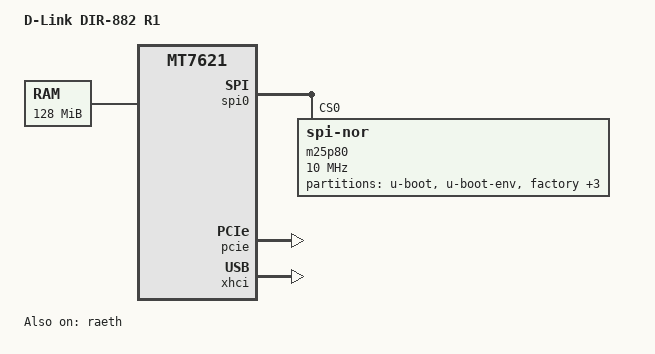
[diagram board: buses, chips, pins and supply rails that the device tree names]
/dts-v1/;

#include "mt7621.dtsi"

#include <dt-bindings/gpio/gpio.h>
#include <dt-bindings/input/input.h>

/ {
	compatible = "dlink,dir-882-r1", "ralink,mt7621-soc";
	model = "D-Link DIR-882 R1";

	memory@0 {
		device_type = "memory";
		reg = <0x0 0x8000000>;
	};
};

&spi0 {
	status = "okay";
	m25p80@0 {
		compatible = "jedec,spi-nor";
		reg = <0>;
		spi-max-frequency = <10000000>;

		partitions {
			compatible = "fixed-partitions";
			#address-cells = <1>;
			#size-cells = <1>;

			partition@0 {
				label = "u-boot";
				reg = <0x0 0x30000>;
			};

			partition@30000 {
				label = "u-boot-env";
				reg = <0x30000 0x4000>;
			};

			factory: partition@40000 {
				label = "factory";
				reg = <0x40000 0x10000>;
			};
			partition@50000 {
				compatible = "denx,uimage";
				label = "linux";
				reg = <0x50000 0xfb0000>;
			};

			partition@ff00000 {
				label = "nvram";
				reg = <0xff0000 0x10000>;
			};
			partition@0000000 {
				label = "fullflash";
				reg = <0x000000 0x1000000>;
			};
		};
	};
};

&raeth {
	status = "okay";
	mac-address = [00 00 00 00 00 00];
	gmac1-support = "rgmii-1";
	rgmii-mode-1 = "force-1000";
	gmac2-support = "rgmii-2";
	rgmii-mode-2 = "force-1000";
	gmac2-phy-address = <0>;
	gmac1_txq_num = <1>;
	gmac1_txq_txd_num = <1024>;
	gmac2_txq_num = <1>;
	gmac2_txq_txd_num = <1024>;
	num_rx_desc = <1024>;
};

&pcie {
	status = "okay";
};

&pinctrl {
	state_default: pinctrl0 {
		gpio {
			ralink,group = "i2c", "uart2", "uart3", "rgmii2", "sdhci";
			ralink,function = "gpio";
		};
	};
};

&xhci {
	status = "okay";
};

